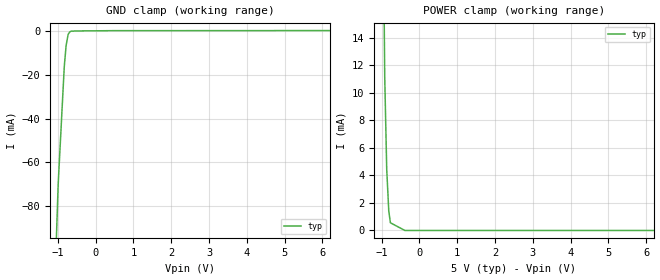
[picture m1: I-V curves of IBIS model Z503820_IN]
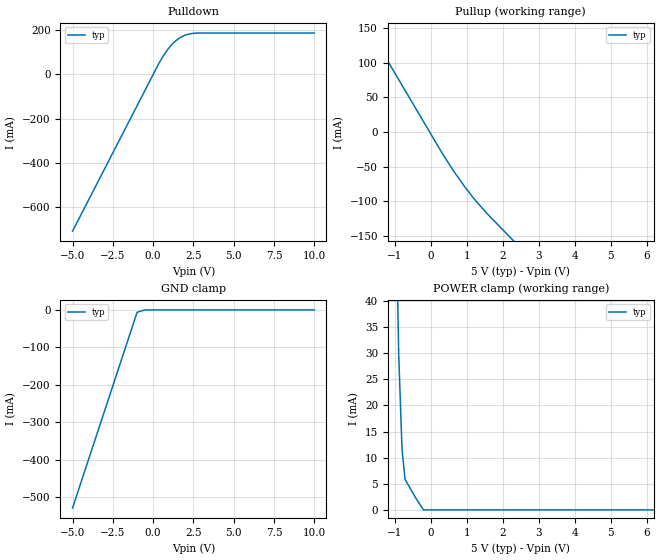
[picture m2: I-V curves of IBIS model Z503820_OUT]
| YOU ARE ONLY AUTHORIZED TO USE THIS SOFTWARE
| ACCORDING TO LICENSOR'S LICENSE RESTRICTIONS.
[IBIS Ver] 3.1
[File Name] mc74ac810n.ibs
[File Rev] 2.0
[Source] Measured and created by ICX Technology
[Date] Friday 7/14/00 9:08:00 AM
[Copyright]
| (C) COPYRIGHT 1993-2000
| MENTOR GRAPHICS CORPORATION
| ICX STANDARD LIBRARY, ICX PROJECT MODELING,
| ICX CUSTOM MODELING, ICX VENDOR MODEL
| ALL RIGHTS RESERVED.
| THE FOLLOWING ARE TRADEMARKS OR SERVICE MARKS OF
| MENTOR GRAPHICS CORPORATION:ICX (R), ICX STANDARD
| LIBRARY(R), ICX PROJECT MODELING(R), ICX CUSTOM
| MODELING(R), qualityIBIS(TM), MODELVIEWER(TM),
| AND MODELEDITOR(TM)
| ALL COPIES OF SOFTWARE, INCLUDING BUT NOT LIMITED TO
| ANY MODIFICATIONS, ENHANCEMENTS OR DERIVATIVE WORKS,
| MUST CONTAIN ALL MENTOR GRAPHICS CORPORATION'S
| NOTICES AND LEGENDS, INCLUDING THOSE EMBEDDED IN
| SOFTWARE AND THOSE AFFIXED TO SOFTWARE MEDIUM
| AND CONTAINER, AS RECEIVED FROM MENTOR GRAPHICS
| CORPORATION.
|  ZAP Model Builder 2.7
[Component] MC74AC810N
[Manufacturer] OnSemiconductor
[Package]
| variable   typ   min   max
R_pkg  .21ohms NA NA
L_pkg  4.543nH NA NA
C_pkg  1.059pF NA NA
[Pin] signal_name  model_name  R_pin  L_pin C_pin
1 A Z503820_IN .22 6.757n 1.432p
2 B Z503820_IN .212 4.757n 1.142p
3 Y Z503820_OUT .204 3.257n .852p
4 A Z503820_IN .196 2.257n .562p
5 B Z503820_IN .204 3.257n .852p
6 Y Z503820_OUT .212 4.757n 1.142p
7 GND GND .22 6.757n 1.432p
8 Y Z503820_OUT .22 6.757n 1.432p
9 A Z503820_IN .212 4.757n 1.142p
10 B Z503820_IN .204 3.257n .852p
11 Y Z503820_OUT .196 2.257n .562p
12 A Z503820_IN .204 3.257n .852p
13 B Z503820_IN .212 4.757n 1.142p
14 VCC POWER .22 6.757n 1.432p
| Models and submodels in the file (2): Z503820_IN (Input), Z503820_OUT (Output)
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| (C) COPYRIGHT 1993-2000
| MENTOR GRAPHICS CORPORATION
| ICX STANDARD LIBRARY, ICX PROJECT MODELING,
| ICX CUSTOM MODELING, ICX VENDOR MODEL
| ALL RIGHTS RESERVED.
| THE FOLLOWING ARE TRADEMARKS OR SERVICE MARKS OF
| MENTOR GRAPHICS CORPORATION:ICX (R), ICX STANDARD
| LIBRARY(R), ICX PROJECT MODELING(R), ICX CUSTOM
| MODELING(R), qualityIBIS(TM), MODELVIEWER(TM),
| AND MODELEDITOR(TM)
| ALL COPIES OF SOFTWARE, INCLUDING BUT NOT LIMITED TO
| ANY MODIFICATIONS, ENHANCEMENTS OR DERIVATIVE WORKS,
| MUST CONTAIN ALL MENTOR GRAPHICS CORPORATION'S
| NOTICES AND LEGENDS, INCLUDING THOSE EMBEDDED IN
| SOFTWARE AND THOSE AFFIXED TO SOFTWARE MEDIUM
| AND CONTAINER, AS RECEIVED FROM MENTOR GRAPHICS
| CORPORATION.
| Model Application Version 1.89 2/18/99.
[Model] Z503820_IN
Model_type Input
Vinl = 1.500V
Vinh = 3.500V
C_comp 4.000pF NA NA
| variable typ   min   max
[Voltage Range] 5.000V NA NA
[GND Clamp Reference] 0.000V NA NA
[POWER Clamp Reference] 5.000V NA NA
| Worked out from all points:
|   GND clamp passes 1 mA (typ) near -0.71 V on its own axis
|   POWER clamp passes 1 mA (typ) near -0.79 V on its own axis
[GND Clamp]
-5V       -2.156A    NA         NA
-991.2mV  -70.12mA   NA         NA
-830.1mV  -16.36mA   NA         NA
-781.3mV  -6.718mA   NA         NA
-727.7mV  -1.568mA   NA         NA
-684.4mV  -422.3uA   NA         NA
-645.5mV  -83.92uA   NA         NA
10V       177.6uA    NA         NA
[POWER Clamp]
-5V       2.905A     NA         NA
-1.113V   91.92mA    NA         NA
-1.009V   38.84mA    NA         NA
-917mV    11.17mA    NA         NA
-864mV    4.414mA    NA         NA
-810mV    1.416mA    NA         NA
-767mV    558.5uA    NA         NA
-383.5mV  0A         NA         NA
10V       0A         NA         NA
| (C) COPYRIGHT 1993-2000
| MENTOR GRAPHICS CORPORATION
| ICX STANDARD LIBRARY, ICX PROJECT MODELING,
| ICX CUSTOM MODELING, ICX VENDOR MODEL
| ALL RIGHTS RESERVED.
| THE FOLLOWING ARE TRADEMARKS OR SERVICE MARKS OF
| MENTOR GRAPHICS CORPORATION:ICX (R), ICX STANDARD
| LIBRARY(R), ICX PROJECT MODELING(R), ICX CUSTOM
| MODELING(R), qualityIBIS(TM), MODELVIEWER(TM),
| AND MODELEDITOR(TM)
| ALL COPIES OF SOFTWARE, INCLUDING BUT NOT LIMITED TO
| ANY MODIFICATIONS, ENHANCEMENTS OR DERIVATIVE WORKS,
| MUST CONTAIN ALL MENTOR GRAPHICS CORPORATION'S
| NOTICES AND LEGENDS, INCLUDING THOSE EMBEDDED IN
| SOFTWARE AND THOSE AFFIXED TO SOFTWARE MEDIUM
| AND CONTAINER, AS RECEIVED FROM MENTOR GRAPHICS
| CORPORATION.
| Model Application Version 1.89 2/18/99.
[Model] Z503820_OUT
Model_type Output
Vref=0.000V
Rref=500.0ohms
Cref=50.00pF
Vmeas=2.500V
C_comp 8.000pF NA NA
| variable typ   min   max
[Voltage Range] 5.000V NA NA
[POWER Clamp Reference] 5.000V NA NA
[Pullup Reference] 5.000V NA NA
[Pulldown Reference] 0.000V NA NA
[GND Clamp Reference] 0.000V NA NA
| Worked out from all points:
|   slope of the pulldown table from 0 to 0.75 V, typ, clamps not added: 7.71 ohm
|   slope of the pullup table from 0 to 0.75 V, typ, clamps not added: 12.1 ohm
|   POWER clamp passes 1 mA (typ) near -0.30 V on its own axis
[GND Clamp]
-5V       -528.1mA   NA         NA
-991.2mV  -6.117mA   NA         NA
-495.6mV  0A         NA         NA
10V       0A         NA         NA
[Pulldown]
-5V       -708mA     NA         NA
338.4mV   47.35mA    NA         NA
904.1mV   113.1mA    NA         NA
1.399V    152.1mA    NA         NA
2.007V    178.2mA    NA         NA
2.617V    186.8mA    NA         NA
10V       187.4mA    NA         NA
[Pullup]
-5V       435.4mA    NA         NA
313mV     -30.56mA   NA         NA
623mV     -55.58mA   NA         NA
938mV     -78.72mA   NA         NA
1.197V    -96.04mA   NA         NA
1.538V    -116.2mA   NA         NA
10V       -568.2mA   NA         NA
[POWER Clamp]
-5V       2.049A     NA         NA
-1.03V    80.17mA    NA         NA
-898mV    29.74mA    NA         NA
-805mV    11.48mA    NA         NA
-721mV    5.828mA    NA         NA
-415mV    2.177mA    NA         NA
-207.5mV  0A         NA         NA
10V       0A         NA         NA
[Ramp]
| variable typ min max
dV/dt_r 2.952/446.6p NA NA
dV/dt_f 2.952/1.302n NA NA
R_load = 500.0Ohms
